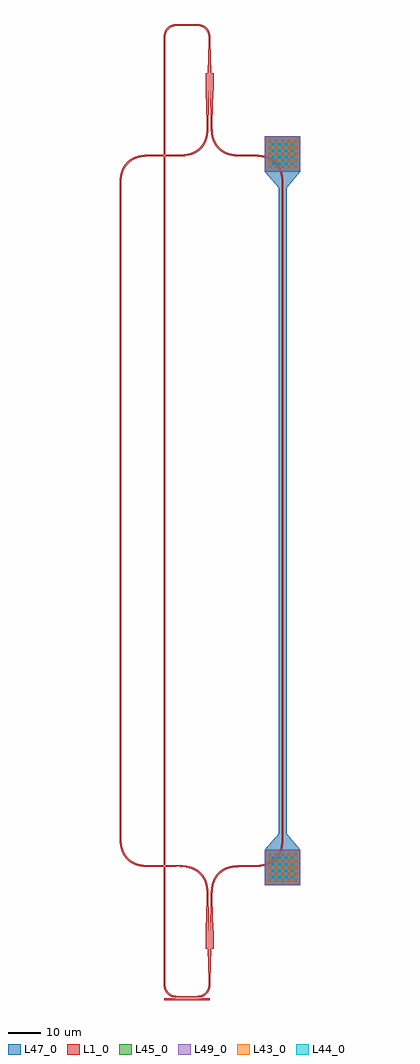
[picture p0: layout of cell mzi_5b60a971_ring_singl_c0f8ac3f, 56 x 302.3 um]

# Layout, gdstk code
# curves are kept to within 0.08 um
from math import pi, radians
import gdstk
lib = gdstk.Library(unit=1e-6, precision=1e-09)
def R(c, l, rs):  # rectangles x0, y0, x1, y1
    for r in rs: c.add(gdstk.rectangle(r[:2], r[2:], *l))
def P(c, l, *ps):  # polygons
    for p in ps: c.add(gdstk.Polygon(p, *l))
L1_0 = (1, 0)
L43_0 = (43, 0)
L44_0 = (44, 0)
L45_0 = (45, 0)
L47_0 = (47, 0)
L49_0 = (49, 0)

bend_euler_212e6ad7 = lib.new_cell('bend_euler_212e6ad7')
P(bend_euler_212e6ad7, L1_0, [(0,-0.25),(1.398,-0.205),(2.357,-0.033),(3.255,0.338),(4.017,0.912),(4.611,1.658),(4.991,2.501),(5.205,3.602),(5.25,5),(4.75,5),(4.719,3.785),(4.557,2.798),(4.228,1.993),(3.73,1.332),(3.045,0.794),(2.307,0.473),(1.372,0.295),(0,0.25)])

straight_b3dac65b = lib.new_cell('straight_b3dac65b')
R(straight_b3dac65b, L1_0, [(0,-0.25,5,0.25)])

coupler90_27cef134 = lib.new_cell('coupler90_27cef134')
coupler90_27cef134.add(gdstk.Reference(bend_euler_212e6ad7, (0,0.7)))
coupler90_27cef134.add(gdstk.Reference(straight_b3dac65b, (0,0)))

straight_defbc978 = lib.new_cell('straight_defbc978')
R(straight_defbc978, L1_0, [(0,-0.25,4,0.25)])

coupler_straight_78b24c2 = lib.new_cell('coupler_straight_78b24c2d')
coupler_straight_78b24c2.add(gdstk.Reference(straight_defbc978, (0,0.7)))
coupler_straight_78b24c2.add(gdstk.Reference(straight_defbc978, (0,0)))

coupler_ring = lib.new_cell('coupler_ring')
coupler_ring.add(gdstk.Reference(coupler90_27cef134, (-4,0), rotation=pi, x_reflection=True))
coupler_ring.add(gdstk.Reference(coupler90_27cef134, (0,0)))
coupler_ring.add(gdstk.Reference(coupler_straight_78b24c2, (-4,0)))

straight_7d4f1f35 = lib.new_cell('straight_7d4f1f35')
R(straight_7d4f1f35, L1_0, [(0,-0.25,291.1,0.25)])

mmi1x2 = lib.new_cell('mmi1x2')
R(mmi1x2, L1_0, [(0,-1.25,5.5,1.25)])
P(mmi1x2, L1_0, [(-10,0.25),(0,0.5),(0,-0.5),(-10,-0.25)],
  [(15.5,0.375),(5.5,0.125),(5.5,1.125),(15.5,0.875)],
  [(15.5,-0.875),(5.5,-1.125),(5.5,-0.125),(15.5,-0.375)])

bend_euler = lib.new_cell('bend_euler')
P(bend_euler, L1_0, [(0,-0.25),(2.724,-0.165),(3.761,-0.026),(4.739,0.201),(5.691,0.544),(6.428,0.918),(7.158,1.402),(7.859,2.003),(8.479,2.689),(9.033,3.488),(9.456,4.309),(9.799,5.261),(10.026,6.239),(10.165,7.276),(10.25,10),(9.75,10),(9.634,7.004),(9.463,5.971),(9.18,4.971),(8.508,3.59),(7.575,2.425),(6.41,1.492),(5.029,0.82),(4.029,0.537),(2.996,0.366),(0,0.25)])

straight_a4be237b = lib.new_cell('straight_a4be237b')
R(straight_a4be237b, L1_0, [(0,-0.25,7,0.25)])

straight_bac520ba = lib.new_cell('straight_bac520ba')
R(straight_bac520ba, L1_0, [(0,-0.25,200,0.25)])

straight_fba69bc3 = lib.new_cell('straight_fba69bc3')
R(straight_fba69bc3, L1_0, [(0,-0.25,2,0.25)])

straight_656999d7 = lib.new_cell('straight_656999d7')
R(straight_656999d7, L1_0, [(0,-0.25,28,0.25)])
R(straight_656999d7, L47_0, [(0,-1.25,28,1.25)])

straight_7d548e91 = lib.new_cell('straight_7d548e91')
R(straight_7d548e91, L1_0, [(0,-0.25,30,0.25)])
R(straight_7d548e91, L47_0, [(0,-1.25,30,1.25)])

straight_295d0551 = lib.new_cell('straight_295d0551')
R(straight_295d0551, L1_0, [(0,-0.25,6,0.25)])
R(straight_295d0551, L47_0, [(0,-1.25,6,1.25)])

component_sequence_eb75e = lib.new_cell('component_sequence_eb75e3e9')
component_sequence_eb75e.add(gdstk.Reference(straight_656999d7, (0,0)))
component_sequence_eb75e.add(gdstk.Reference(straight_7d548e91, (28,0)))
component_sequence_eb75e.add(gdstk.Reference(straight_295d0551, (58,0)))
component_sequence_eb75e.add(gdstk.Reference(straight_7d548e91, (64,0)))
component_sequence_eb75e.add(gdstk.Reference(straight_295d0551, (94,0)))
component_sequence_eb75e.add(gdstk.Reference(straight_7d548e91, (100,0)))
component_sequence_eb75e.add(gdstk.Reference(straight_295d0551, (130,0)))
component_sequence_eb75e.add(gdstk.Reference(straight_7d548e91, (136,0)))
component_sequence_eb75e.add(gdstk.Reference(straight_295d0551, (166,0)))
component_sequence_eb75e.add(gdstk.Reference(straight_656999d7, (172,0)))

compass_41b06480 = lib.new_cell('compass_41b06480')
R(compass_41b06480, L47_0, [(-5.5,-5.5,5.5,5.5)])

compass_a8526bc0 = lib.new_cell('compass_a8526bc0')
R(compass_a8526bc0, L45_0, [(-5.5,-5.5,5.5,5.5)])

compass_580ae069 = lib.new_cell('compass_580ae069')
R(compass_580ae069, L49_0, [(-5.5,-5.5,5.5,5.5)])

via_df374226 = lib.new_cell('via_df374226')
R(via_df374226, L44_0, [(-0.35,-0.35,0.35,0.35)])

via_acdc145d = lib.new_cell('via_acdc145d')
R(via_acdc145d, L43_0, [(-0.35,-0.35,0.35,0.35)])

contact_bae24d69 = lib.new_cell('contact_bae24d69')
contact_bae24d69.add(gdstk.Reference(compass_41b06480, (0,0)))
contact_bae24d69.add(gdstk.Reference(compass_a8526bc0, (0,0)))
contact_bae24d69.add(gdstk.Reference(compass_580ae069, (0,0)))
r = gdstk.Reference(via_df374226, (-3,-3)); r.repetition = gdstk.Repetition(4, 4, v1=(2,0), v2=(0,2)); contact_bae24d69.add(r)
r = gdstk.Reference(via_acdc145d, (-4,-4)); r.repetition = gdstk.Repetition(5, 5, v1=(2,0), v2=(0,2)); contact_bae24d69.add(r)

taper_a1c36362 = lib.new_cell('taper_a1c36362')
P(taper_a1c36362, L47_0, [(0,5.5),(5,1.25),(5,-1.25),(0,-5.5)])

straight_heater_metal_u_ = lib.new_cell('straight_heater_metal_u_84612895')
straight_heater_metal_u_.add(gdstk.Reference(component_sequence_eb75e, (0,0)))
straight_heater_metal_u_.add(gdstk.Reference(contact_bae24d69, (-10.5,0)))
straight_heater_metal_u_.add(gdstk.Reference(contact_bae24d69, (210.5,0)))
straight_heater_metal_u_.add(gdstk.Reference(taper_a1c36362, (-5,0)))
straight_heater_metal_u_.add(gdstk.Reference(taper_a1c36362, (205,0), rotation=pi))

straight_5b70f7d2 = lib.new_cell('straight_5b70f7d2')
R(straight_5b70f7d2, L1_0, [(0,-0.25,0.09,0.25)])

straight_c49ce9c6 = lib.new_cell('straight_c49ce9c6')
R(straight_c49ce9c6, L1_0, [(0,-0.25,0.01,0.25)])

mzi_5b60a971 = lib.new_cell('mzi_5b60a971')
mzi_5b60a971.add(gdstk.Reference(mmi1x2, (0,0)))
mzi_5b60a971.add(gdstk.Reference(mmi1x2, (271.1,0), rotation=pi, x_reflection=True))
mzi_5b60a971.add(gdstk.Reference(bend_euler, (15.5,-0.625), x_reflection=True))
mzi_5b60a971.add(gdstk.Reference(straight_a4be237b, (25.5,-10.625), rotation=3*pi/2))
mzi_5b60a971.add(gdstk.Reference(bend_euler, (25.5,-17.625), rotation=3*pi/2))
mzi_5b60a971.add(gdstk.Reference(straight_bac520ba, (35.5,-27.625)))
mzi_5b60a971.add(gdstk.Reference(bend_euler, (15.5,0.625)))
mzi_5b60a971.add(gdstk.Reference(straight_fba69bc3, (25.5,10.625), rotation=pi/2))
mzi_5b60a971.add(gdstk.Reference(bend_euler, (35.5,22.625), rotation=pi))
mzi_5b60a971.add(gdstk.Reference(straight_heater_metal_u_, (35.5,22.625)))
mzi_5b60a971.add(gdstk.Reference(bend_euler, (235.59,22.625), x_reflection=True))
mzi_5b60a971.add(gdstk.Reference(bend_euler, (245.59,10.625), rotation=3*pi/2))
mzi_5b60a971.add(gdstk.Reference(straight_5b70f7d2, (235.5,22.625)))
mzi_5b60a971.add(gdstk.Reference(straight_fba69bc3, (245.59,12.625), rotation=3*pi/2))
mzi_5b60a971.add(gdstk.Reference(straight_c49ce9c6, (255.59,0.625)))
mzi_5b60a971.add(gdstk.Reference(bend_euler, (235.59,-27.625)))
mzi_5b60a971.add(gdstk.Reference(bend_euler, (245.59,-10.625), rotation=pi/2, x_reflection=True))
mzi_5b60a971.add(gdstk.Reference(straight_5b70f7d2, (235.5,-27.625)))
mzi_5b60a971.add(gdstk.Reference(straight_a4be237b, (245.59,-17.625), rotation=pi/2))
mzi_5b60a971.add(gdstk.Reference(straight_c49ce9c6, (255.59,-0.625)))

mzi_5b60a971_ring_singl_ = lib.new_cell('mzi_5b60a971_ring_singl_c0f8ac3f')
mzi_5b60a971_ring_singl_.add(gdstk.Reference(coupler_ring, (0,0)))
mzi_5b60a971_ring_singl_.add(gdstk.Reference(straight_7d4f1f35, (-9,296.8), rotation=3*pi/2))
mzi_5b60a971_ring_singl_.add(gdstk.Reference(mzi_5b60a971, (5,286.8), rotation=3*pi/2))
mzi_5b60a971_ring_singl_.add(gdstk.Reference(bend_euler_212e6ad7, (-4,301.8), rotation=pi))
mzi_5b60a971_ring_singl_.add(gdstk.Reference(bend_euler_212e6ad7, (5,296.8), rotation=pi/2))
mzi_5b60a971_ring_singl_.add(gdstk.Reference(straight_defbc978, (-4,301.8)))

lib.write_gds('mzi_5b60a971_ring_singl_c0f8ac3f.gds')
